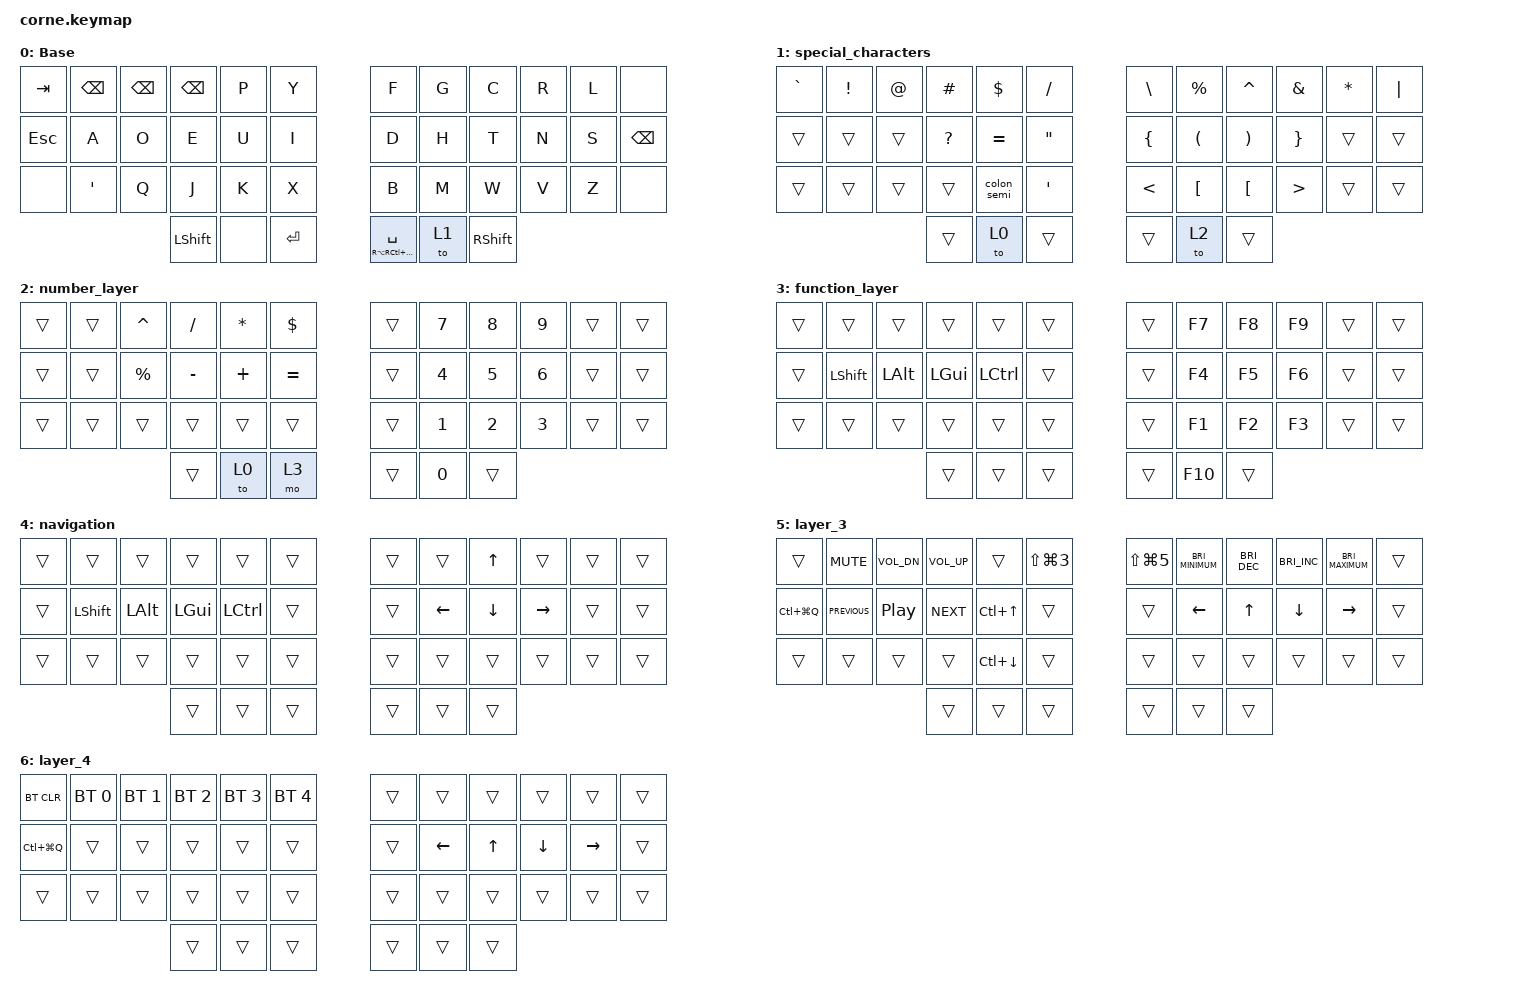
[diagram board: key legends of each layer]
/*
 * Copyright (c) 2020 The ZMK Contributors
 *
 * SPDX-License-Identifier: MIT
 */

#include <behaviors.dtsi>
#include <dt-bindings/zmk/bt.h>
#include <dt-bindings/zmk/keys.h>

/ {
    combos { compatible = "zmk,combos"; };

    behaviors {
        lpht: lpht {
            compatible = "zmk,behavior-hold-tap";
            label = "LPHT";
            bindings = <&kp>, <&kp>;

            #binding-cells = <2>;
            tapping-term-ms = <400>;
            flavor = "tap-unless-interrupted";
            hold-trigger-key-positions = <6 7 8 9 10 22 34 33 21 20 19 18 30 31 32>;
        };

        rpht: rpht {
            compatible = "zmk,behavior-hold-tap";
            label = "RPHT";
            bindings = <&kp>, <&kp>;

            #binding-cells = <2>;
            tapping-term-ms = <400>;
            hold-trigger-key-positions = <29 17 5 4 3 2 3 4 14 15 16 26 27 28 1 13 25>;
            flavor = "tap-unless-interrupted";
        };

        meh: meh {
            compatible = "zmk,behavior-hold-tap";
            label = "MEH";
            bindings = <&kp>, <&kp>;

            #binding-cells = <2>;
            tapping-term-ms = <500>;
            flavor = "tap-unless-interrupted";
            retro-tap;
            hold-trigger-key-positions = <16 15 14 13>;
        };

        colon_semi: colon_semi {
            compatible = "zmk,behavior-tap-dance";
            label = "COLON_SEMI";
            #binding-cells = <0>;
            tapping-term-ms = <400>;
            bindings = <&kp COLON>, <&kp SEMI>;
        };
    };

    keymap {
        compatible = "zmk,keymap";

        default_layer {
            // -----------------------------------------------------------------------------------------
            // |  TAB |  Q  |  W  |  E  |  R  |  T  |   |  Y  |  U   |  I  |  O  |  P  | BKSP |
            // | CTRL |  A  |  S  |  D  |  F  |  G  |   |  H  |  J   |  K  |  L  |  ;  |  '   |
            // | SHFT |  Z  |  X  |  C  |  V  |  B  |   |  N  |  M   |  ,  |  .  |  /  | ESC  |
            //                    | GUI | LWR | SPC |   | ENT | RSE  | ALT |

            display-name = "Base";
            bindings = <
&kp TAB     &kp BSPC          &kp BSPC  &kp BSPC    &kp P  &kp Y        &kp F                         &kp G  &kp C       &kp R  &kp L  &none
&kp ESCAPE  &kp A             &kp O     &kp E       &kp U  &kp I        &kp D                         &kp H  &kp T       &kp N  &kp S  &kp BACKSPACE
&none       &kp SINGLE_QUOTE  &kp Q     &kp J       &kp K  &kp X        &kp B                         &kp M  &kp W       &kp V  &kp Z  &none
                                        &kp LSHIFT  &none  &kp ENTER    &meh RA(RC(RG(RSHFT))) SPACE  &to 1  &kp RSHIFT
            >;
        };

        special_characters {
            bindings = <
&kp GRAVE  &kp EXCLAMATION  &kp AT  &kp HASH      &kp DOLLAR   &kp SLASH            &kp BACKSLASH   &kp PERCENT           &kp CARET              &kp AMPS          &kp ASTRK  &kp PIPE
&trans     &trans           &trans  &kp QUESTION  &kp EQUAL    &kp DOUBLE_QUOTES    &kp LEFT_BRACE  &kp LEFT_PARENTHESIS  &kp RIGHT_PARENTHESIS  &kp RIGHT_BRACE   &trans     &trans
&trans     &trans           &trans  &trans        &colon_semi  &kp SINGLE_QUOTE     &kp LESS_THAN   &kp LEFT_BRACKET      &kp LEFT_BRACKET       &kp GREATER_THAN  &trans     &trans
                                    &trans        &to 0        &trans               &trans          &to 2                 &trans
            >;
        };

        number_layer {
            bindings = <
&trans  &trans  &kp CARET    &kp SLASH  &kp ASTRK  &kp DOLLAR    &trans  &kp N7        &kp N8        &kp N9        &trans  &trans
&trans  &trans  &kp PERCENT  &kp MINUS  &kp PLUS   &kp EQUAL     &trans  &kp NUMBER_4  &kp N5        &kp NUMBER_6  &trans  &trans
&trans  &trans  &trans       &trans     &trans     &trans        &trans  &kp NUMBER_1  &kp NUMBER_2  &kp NUMBER_3  &trans  &trans
                             &trans     &to 0      &mo 3         &trans  &kp N0        &trans
            >;
        };

        function_layer {
            bindings = <
&trans  &trans      &trans    &trans    &trans     &trans    &trans  &kp F7   &kp F8  &kp F9  &trans  &trans
&trans  &kp LSHIFT  &kp LALT  &kp LGUI  &kp LCTRL  &trans    &trans  &kp F4   &kp F5  &kp F6  &trans  &trans
&trans  &trans      &trans    &trans    &trans     &trans    &trans  &kp F1   &kp F2  &kp F3  &trans  &trans
                              &trans    &trans     &trans    &trans  &kp F10  &trans
            >;
        };

        navigation {
            bindings = <
&trans  &trans          &trans    &trans    &trans     &trans    &trans  &trans          &kp UP_ARROW    &trans     &trans  &trans
&trans  &kp LEFT_SHIFT  &kp LALT  &kp LGUI  &kp LCTRL  &trans    &trans  &kp LEFT_ARROW  &kp DOWN_ARROW  &kp RIGHT  &trans  &trans
&trans  &trans          &trans    &trans    &trans     &trans    &trans  &trans          &trans          &trans     &trans  &trans
                                  &trans    &trans     &trans    &trans  &trans          &trans
            >;
        };

        layer_3 {
            bindings = <
&trans         &kp K_MUTE      &kp C_VOL_DN      &kp C_VOL_UP  &trans        &kp LS(LG(NUMBER_3))    &kp LS(LG(N5))  &kp C_BRIGHTNESS_MINIMUM  &kp C_BRIGHTNESS_DEC  &kp C_BRIGHTNESS_INC  &kp C_BRIGHTNESS_MAXIMUM  &trans
&kp LC(LG(Q))  &kp C_PREVIOUS  &kp C_PLAY_PAUSE  &kp C_NEXT    &kp LC(UP)    &trans                  &trans          &kp LEFT                  &kp UP_ARROW          &kp DOWN              &kp RIGHT                 &trans
&trans         &trans          &trans            &trans        &kp LC(DOWN)  &trans                  &trans          &trans                    &trans                &trans                &trans                    &trans
                                                 &trans        &trans        &trans                  &trans          &trans                    &trans
            >;
        };

        layer_4 {
            bindings = <
&bt BT_CLR     &bt BT_SEL 0  &bt BT_SEL 1  &bt BT_SEL 2  &bt BT_SEL 3  &bt BT_SEL 4    &trans  &trans    &trans  &trans    &trans     &trans
&kp LC(LG(Q))  &trans        &trans        &trans        &trans        &trans          &trans  &kp LEFT  &kp UP  &kp DOWN  &kp RIGHT  &trans
&trans         &trans        &trans        &trans        &trans        &trans          &trans  &trans    &trans  &trans    &trans     &trans
                                           &trans        &trans        &trans          &trans  &trans    &trans
            >;
        };
    };
};
